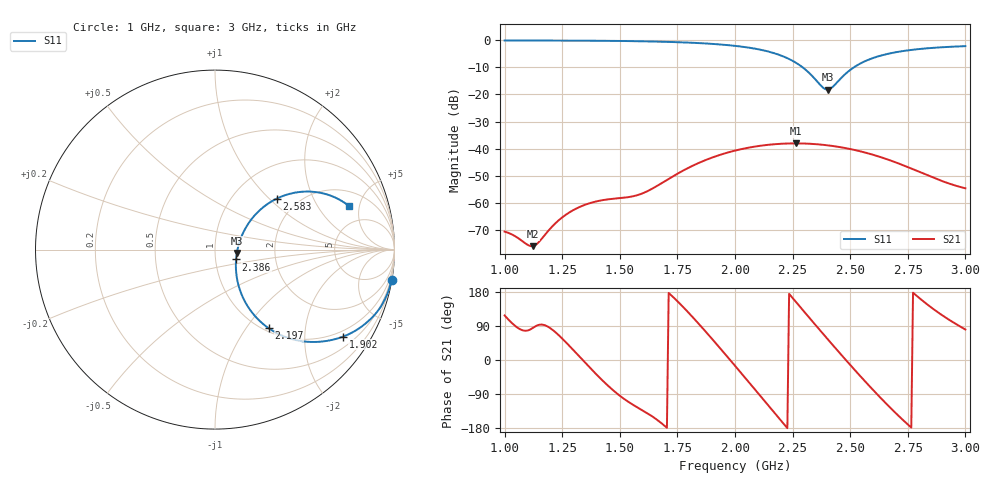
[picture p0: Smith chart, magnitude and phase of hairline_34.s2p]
! TOUCHSTONE file generated by CST MICROWAVE STUDIO
! Date and time: Tue Mar 18 20:31:50 2025
! Project name: hairline.cst
! Parameters = {B=12.5; D=160; F=25; Feed=2.85625; Fracture=0.5; L=100; M=50; R=0.384908; S=1.5; Theta=180; length=57.125; wave=114.25}
! Header version: 2024
! Port assignment regex: !\s*Touchstone port\s*([0-9]+)\s*=\s*(CST MWS port|CST DES external port|CST DES block port)\s*(.+)\s* \(\"(.*)\"\)(\s*mode\s*([0-9]+))?.*
! Touchstone port assignment:
! Touchstone port 1 = CST MWS port 1 ("")
! Touchstone port 2 = CST MWS port 2 ("")
# GHz S DB R 50
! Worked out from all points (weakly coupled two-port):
!   265 points, 1 GHz to 3 GHz, reference 50 ohm
!   highest |S21| = -38.09 dB at 2.265 GHz (marker M1); lowest = -76.1 dB at 1.121 GHz (marker M2)
!   lowest |S11| = -18.2 dB at 2.402 GHz (marker M3), VSWR 1.28, Z = 63.8 - j2.41 ohm
!   |S11| at or under -10 dB: 2.294 GHz to 2.515 GHz (221.3 MHz wide, 9.2 % of centre)
!   S12 and S22 are empty: the file has one direction only
!   S11 on the Smith chart (normalised r, x): 1 GHz: 0, -12; 1.902 GHz: 0.81, -3.06; 2.197 GHz: 1.05, -1.28; 2.386 GHz: 1.26, -0.14; 2.583 GHz: 1.57, +1.11; 3 GHz: 3.08, +3.91
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1  -0.02 -9.7  -70.72 117.5  -200.00 0.0  -200.00 0.0
1.12121  -0.03 -11.4  -76.11 84.1  -200.00 0.0  -200.00 0.0
1.14394  -0.04 -11.8  -75.00 91.9  -200.00 0.0  -200.00 0.0
1.24242  -0.06 -13.4  -65.99 61.1  -200.00 0.0  -200.00 0.0
1.34091  -0.10 -15.3  -61.07 -1.4  -200.00 0.0  -200.00 0.0
1.56818  -0.28 -20.9  -57.43 -122.1  -200.00 0.0  -200.00 0.0
1.66667  -0.45 -24.0  -53.57 -160.0  -200.00 0.0  -200.00 0.0
1.79545  -0.80 -29.0  -47.23 126.8  -200.00 0.0  -200.00 0.0
1.90152  -1.28 -34.2  -43.31 54.9  -200.00 0.0  -200.00 0.0
2  -2.01 -40.1  -40.76 -15.2  -200.00 0.0  -200.00 0.0
2.10606  -3.36 -48.1  -39.02 -91.9  -200.00 0.0  -200.00 0.0
2.19697  -5.51 -55.7  -38.25 -158.0  -200.00 0.0  -200.00 0.0
2.26515  -8.30 -59.8  -38.09 152.7  -200.00 0.0  -200.00 0.0
2.34091  -13.69 -53.4  -38.32 98.4  -200.00 0.0  -200.00 0.0
2.38636  -17.74 -25.1  -38.66 66.1  -200.00 0.0  -200.00 0.0
2.40152  -18.19 -8.7  -38.81 55.4  -200.00 0.0  -200.00 0.0
2.42424  -17.17 14.5  -39.06 39.4  -200.00 0.0  -200.00 0.0
2.50758  -10.46 41.0  -40.32 -18.1  -200.00 0.0  -200.00 0.0
2.58333  -7.01 39.6  -41.91 -68.7  -200.00 0.0  -200.00 0.0
2.66667  -4.90 34.3  -44.17 -121.5  -200.00 0.0  -200.00 0.0
2.81818  -3.04 25.5  -49.27 154.4  -200.00 0.0  -200.00 0.0
3  -2.12 18.2  -54.71 80.5  -200.00 0.0  -200.00 0.0
